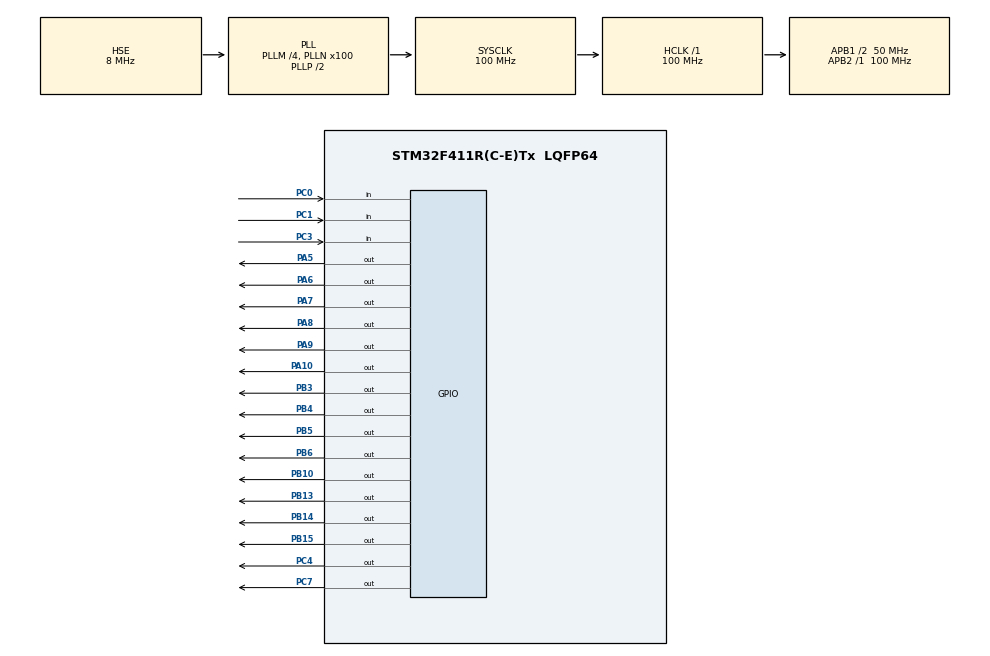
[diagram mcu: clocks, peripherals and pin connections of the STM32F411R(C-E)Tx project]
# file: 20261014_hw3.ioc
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Mcu.Family=STM32F4
Mcu.Name=STM32F411R(C-E)Tx
Mcu.Package=LQFP64
NVIC.PriorityGroup=NVIC_PRIORITYGROUP_4
PA10.Signal=GPIO_Output
PA5.Signal=GPIO_Output
PA6.Signal=GPIO_Output
PA7.Signal=GPIO_Output
PA8.Signal=GPIO_Output
PA9.Signal=GPIO_Output
PB10.Signal=GPIO_Output
PB13.Signal=GPIO_Output
PB14.Signal=GPIO_Output
PB15.Signal=GPIO_Output
PB3.Signal=GPIO_Output
PB4.Signal=GPIO_Output
PB5.Signal=GPIO_Output
PB6.Signal=GPIO_Output
PC0.Signal=GPIO_Input
PC1.Signal=GPIO_Input
PC3.Signal=GPIO_Input
PC4.Signal=GPIO_Output
PC7.Signal=GPIO_Output
PH0\ -\ OSC_IN.Mode=HSE-External-Oscillator
PH0\ -\ OSC_IN.Signal=RCC_OSC_IN
PH1\ -\ OSC_OUT.Mode=HSE-External-Oscillator
PH1\ -\ OSC_OUT.Signal=RCC_OSC_OUT
ProjectManager.HeapSize=0x200
ProjectManager.StackSize=0x400
ProjectManager.TargetToolchain=STM32CubeIDE
RCC.48MHZClocksFreq_Value=50000000
RCC.AHBFreq_Value=100000000
RCC.APB1CLKDivider=RCC_HCLK_DIV2
RCC.APB1Freq_Value=50000000
RCC.APB1TimFreq_Value=100000000
RCC.APB2Freq_Value=100000000
RCC.APB2TimFreq_Value=100000000
RCC.CortexFreq_Value=100000000
RCC.HCLKFreq_Value=100000000
RCC.HSE_VALUE=8000000
RCC.HSI_VALUE=16000000
RCC.LSE_VALUE=32768
RCC.PLLM=4
RCC.PLLN=100
RCC.PLLSourceVirtual=RCC_PLLSOURCE_HSE
RCC.SYSCLKFreq_VALUE=100000000
RCC.SYSCLKSource=RCC_SYSCLKSOURCE_PLLCLK
RCC.VCOOutputFreq_Value=200000000
board=custom

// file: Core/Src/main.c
/* USER CODE BEGIN Header */
/**
 ******************************************************************************
 * @file           : main.c
 * @brief          : Main program body
 ******************************************************************************
 * @attention
 *
 * Copyright (c) 2026 STMicroelectronics.
 * All rights reserved.
 *
 * This software is licensed under terms that can be found in the LICENSE file
 * in the root directory of this software component.
 * If no LICENSE file comes with this software, it is provided AS-IS.
 *
 ******************************************************************************
 */
/* USER CODE END Header */
#include "main.h"

/* USER CODE BEGIN Includes */
#include "driver/fnd/fnd.h"
/* USER CODE END Includes */

/* USER CODE BEGIN PD */
#define BTN1_GPIO GPIOC
#define BTN1_PIN  GPIO_PIN_0
#define BTN2_GPIO GPIOC
#define BTN2_PIN  GPIO_PIN_1
#define BTN3_GPIO GPIOC
#define BTN3_PIN  GPIO_PIN_3

#define LED1_GPIO GPIOB
#define LED1_PIN  GPIO_PIN_15
#define LED2_GPIO GPIOB
#define LED2_PIN  GPIO_PIN_14
#define LED3_GPIO GPIOB
#define LED3_PIN  GPIO_PIN_13
#define LED4_GPIO GPIOC
#define LED4_PIN  GPIO_PIN_4
/* USER CODE END PD */

void SystemClock_Config(void);
static void MX_GPIO_Init(void);

int main(void)
{

	/* MCU Configuration--------------------------------------------------------*/

	/* Reset of all peripherals, Initializes the Flash interface and the Systick. */
	HAL_Init();

	/* Configure the system clock */
	SystemClock_Config();

	/* Initialize all configured peripherals */
	MX_GPIO_Init();
	/* USER CODE BEGIN 2 */
	uint16_t counter = 0;
	uint32_t last_count = HAL_GetTick();
	int toggle_LED = 1;
	int watch_state = 1;
	uint32_t debouncing_time = 0;
	int button_pressed = 0;
	/* USER CODE END 2 */

	/* Infinite loop */
	/* USER CODE BEGIN WHILE */

	while (1)
	{
		if (watch_state == 2){
			counter = 0;
			watch_state = 0;
		}

		uint32_t now = HAL_GetTick();

	if((HAL_GPIO_ReadPin(GPIOC, GPIO_PIN_0) == 0)||(HAL_GPIO_ReadPin(GPIOC, GPIO_PIN_1) == 0)||(HAL_GPIO_ReadPin(GPIOC, GPIO_PIN_3) == 0)){
		if((button_pressed ==0)&&(now - debouncing_time >= 80U)){
			button_pressed = 1;
			switch(watch_state){
			case 0: // STOP
				if (HAL_GPIO_ReadPin(GPIOC, GPIO_PIN_0) == 0){

					watch_state = 1;
				}

				if (HAL_GPIO_ReadPin(GPIOC, GPIO_PIN_3) == 0){
					watch_state = 2;

				}
				break;
			case 1: // RUN
				if (HAL_GPIO_ReadPin(GPIOC, GPIO_PIN_0) == 0){

					watch_state = 0;
				}
				break;
			case 2: // CLEAR
				watch_state = 0;
				break;
			default:
				break;
			}

		}
	}
	else {
		debouncing_time = HAL_GetTick();
		button_pressed = 0;
	}

	fnd_show_number(counter);

	if (((uint32_t)(now - last_count) >= 100U) && (watch_state ==1))
	{
		last_count = now;
		counter = (counter + 1) % 10000;
	}

	if (HAL_GPIO_ReadPin(GPIOC, GPIO_PIN_0) == 0){
		toggle_LED = 1;

	}
	if (HAL_GPIO_ReadPin(GPIOC, GPIO_PIN_1) == 0){
		toggle_LED = 0;
	}
	if (HAL_GPIO_ReadPin(GPIOC, GPIO_PIN_3) == 0){
		toggle_LED = 2;

	}
	if(toggle_LED == 1)
	{
		HAL_GPIO_WritePin(GPIOB, GPIO_PIN_15,GPIO_PIN_SET);
		HAL_GPIO_WritePin(GPIOB, GPIO_PIN_14,GPIO_PIN_SET);
		HAL_GPIO_WritePin(GPIOB, GPIO_PIN_13,GPIO_PIN_SET);
		HAL_GPIO_WritePin(GPIOC, GPIO_PIN_4,GPIO_PIN_SET );
	}
	if (toggle_LED == 0){
		HAL_GPIO_WritePin(GPIOB, GPIO_PIN_15,GPIO_PIN_RESET);
		HAL_GPIO_WritePin(GPIOB, GPIO_PIN_14,GPIO_PIN_RESET);
		HAL_GPIO_WritePin(GPIOB, GPIO_PIN_13,GPIO_PIN_RESET);
		HAL_GPIO_WritePin(GPIOC, GPIO_PIN_4,GPIO_PIN_RESET );
	}
	//	if (toggle_LED == 2){
	//		HAL_GPIO_TogglePin(GPIOB, GPIO_PIN_15);
	//		HAL_GPIO_TogglePin(GPIOB, GPIO_PIN_14);
	//		HAL_GPIO_TogglePin(GPIOB, GPIO_PIN_13);
	//		HAL_GPIO_TogglePin(GPIOC, GPIO_PIN_4);
	//		HAL_Delay(200);
	//	}
	/* USER CODE END WHILE */

}
}

void SystemClock_Config(void)
{
	RCC_OscInitTypeDef RCC_OscInitStruct = {0};
	RCC_ClkInitTypeDef RCC_ClkInitStruct = {0};

	/** Configure the main internal regulator output voltage
	 */
	__HAL_RCC_PWR_CLK_ENABLE();
	__HAL_PWR_VOLTAGESCALING_CONFIG(PWR_REGULATOR_VOLTAGE_SCALE1);

	/** Initializes the RCC Oscillators according to the specified parameters
	 * in the RCC_OscInitTypeDef structure.
	 */
	RCC_OscInitStruct.OscillatorType = RCC_OSCILLATORTYPE_HSE;
	RCC_OscInitStruct.HSEState = RCC_HSE_ON;
	RCC_OscInitStruct.PLL.PLLState = RCC_PLL_ON;
	RCC_OscInitStruct.PLL.PLLSource = RCC_PLLSOURCE_HSE;
	RCC_OscInitStruct.PLL.PLLM = 4;
	RCC_OscInitStruct.PLL.PLLN = 100;
	RCC_OscInitStruct.PLL.PLLP = RCC_PLLP_DIV2;
	RCC_OscInitStruct.PLL.PLLQ = 4;
	if (HAL_RCC_OscConfig(&RCC_OscInitStruct) != HAL_OK)
	{
		Error_Handler();
	}

	/** Initializes the CPU, AHB and APB buses clocks
	 */
	RCC_ClkInitStruct.ClockType = RCC_CLOCKTYPE_HCLK|RCC_CLOCKTYPE_SYSCLK
			|RCC_CLOCKTYPE_PCLK1|RCC_CLOCKTYPE_PCLK2;
	RCC_ClkInitStruct.SYSCLKSource = RCC_SYSCLKSOURCE_PLLCLK;
	RCC_ClkInitStruct.AHBCLKDivider = RCC_SYSCLK_DIV1;
	RCC_ClkInitStruct.APB1CLKDivider = RCC_HCLK_DIV2;
	RCC_ClkInitStruct.APB2CLKDivider = RCC_HCLK_DIV1;

	if (HAL_RCC_ClockConfig(&RCC_ClkInitStruct, FLASH_LATENCY_3) != HAL_OK)
	{
		Error_Handler();
	}
}

static void MX_GPIO_Init(void)
{
	GPIO_InitTypeDef GPIO_InitStruct = {0};

	/* GPIO Ports Clock Enable */
	__HAL_RCC_GPIOH_CLK_ENABLE();
	__HAL_RCC_GPIOC_CLK_ENABLE();
	__HAL_RCC_GPIOA_CLK_ENABLE();
	__HAL_RCC_GPIOB_CLK_ENABLE();

	/*Configure GPIO pin Output Level */
	HAL_GPIO_WritePin(GPIOA, GPIO_PIN_5|GPIO_PIN_6|GPIO_PIN_7|GPIO_PIN_8
			|GPIO_PIN_9|GPIO_PIN_10, GPIO_PIN_RESET);

	/*Configure GPIO pin Output Level */
	HAL_GPIO_WritePin(GPIOC, GPIO_PIN_4|GPIO_PIN_7, GPIO_PIN_RESET);

	/*Configure GPIO pin Output Level */
	HAL_GPIO_WritePin(GPIOB, GPIO_PIN_10|GPIO_PIN_13|GPIO_PIN_14|GPIO_PIN_15
			|GPIO_PIN_3|GPIO_PIN_4|GPIO_PIN_5|GPIO_PIN_6, GPIO_PIN_RESET);

	/*Configure GPIO pins : PC0 PC1 PC3 */
	GPIO_InitStruct.Pin = GPIO_PIN_0|GPIO_PIN_1|GPIO_PIN_3;
	GPIO_InitStruct.Mode = GPIO_MODE_INPUT;
	GPIO_InitStruct.Pull = GPIO_NOPULL;
	HAL_GPIO_Init(GPIOC, &GPIO_InitStruct);

	/*Configure GPIO pins : PA5 PA6 PA7 PA8
                           PA9 PA10 */
	GPIO_InitStruct.Pin = GPIO_PIN_5|GPIO_PIN_6|GPIO_PIN_7|GPIO_PIN_8
			|GPIO_PIN_9|GPIO_PIN_10;
	GPIO_InitStruct.Mode = GPIO_MODE_OUTPUT_PP;
	GPIO_InitStruct.Pull = GPIO_NOPULL;
	GPIO_InitStruct.Speed = GPIO_SPEED_FREQ_LOW;
	HAL_GPIO_Init(GPIOA, &GPIO_InitStruct);

	/*Configure GPIO pins : PC4 PC7 */
	GPIO_InitStruct.Pin = GPIO_PIN_4|GPIO_PIN_7;
	GPIO_InitStruct.Mode = GPIO_MODE_OUTPUT_PP;
	GPIO_InitStruct.Pull = GPIO_NOPULL;
	GPIO_InitStruct.Speed = GPIO_SPEED_FREQ_LOW;
	HAL_GPIO_Init(GPIOC, &GPIO_InitStruct);

	/*Configure GPIO pins : PB10 PB13 PB14 PB15
                           PB3 PB4 PB5 PB6 */
	GPIO_InitStruct.Pin = GPIO_PIN_10|GPIO_PIN_13|GPIO_PIN_14|GPIO_PIN_15
			|GPIO_PIN_3|GPIO_PIN_4|GPIO_PIN_5|GPIO_PIN_6;
	GPIO_InitStruct.Mode = GPIO_MODE_OUTPUT_PP;
	GPIO_InitStruct.Pull = GPIO_NOPULL;
	GPIO_InitStruct.Speed = GPIO_SPEED_FREQ_LOW;
	HAL_GPIO_Init(GPIOB, &GPIO_InitStruct);

}

void Error_Handler(void)
{
	__disable_irq();
	while (1)
	{
	}
}
